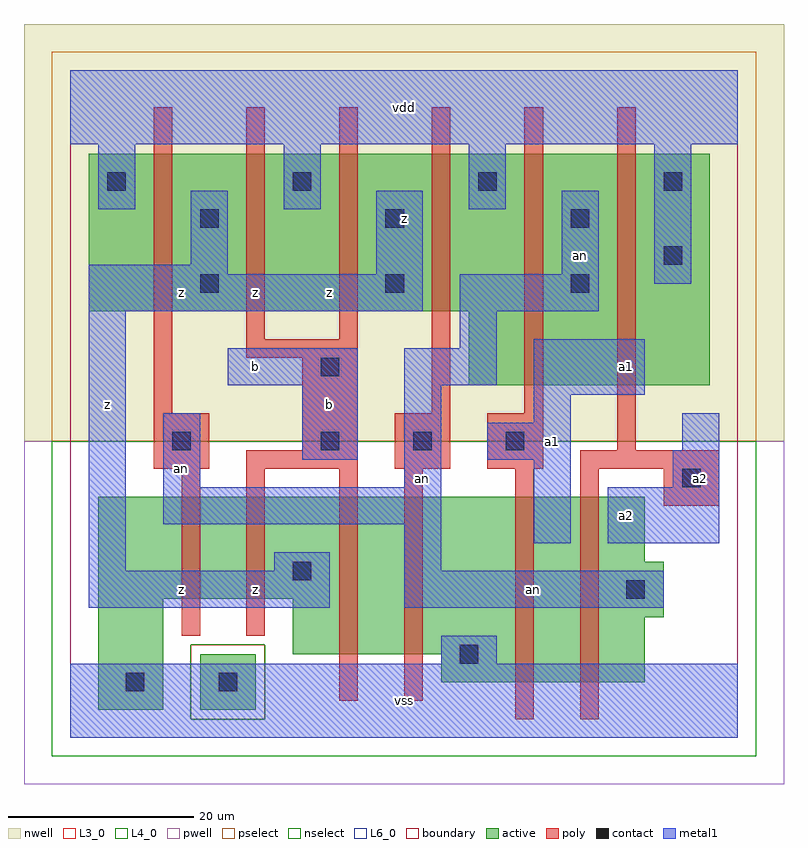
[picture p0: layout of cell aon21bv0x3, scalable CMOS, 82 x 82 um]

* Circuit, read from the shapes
.subckt aon21bv0x3 a1 a2 an b vdd vss z
M1 n1 an vss vss nfet w=11u l=2u
M2 z b n1 vss nfet w=11u l=2u
M3 n2 b z vss nfet w=17u l=2u
M4 vss an n2 vss nfet w=17u l=2u
M5 n3 a1 vss vss nfet w=20u l=2u
M6 an a2 n3 vss nfet w=20u l=2u
M7 z an vdd n4 pfet w=17u l=2u m=2
M8 vdd b z n4 pfet w=17u l=2u m=2
M9 an a1 vdd n4 pfet w=25u l=2u
M10 vdd a2 an n4 pfet w=25u l=2u
.ends

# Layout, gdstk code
import gdstk
lib = gdstk.Library(unit=1e-6, precision=1e-09)
def R(c, l, rs):  # rectangles x0, y0, x1, y1
    for r in rs: c.add(gdstk.rectangle(r[:2], r[2:], *l))
def A(c, l, x, y, w, h, nx, ny, dx, dy):  # array of equal rectangles
    R(c, l, [(x+i*dx, y+j*dy, x+i*dx+w, y+j*dy+h) for i in range(nx) for j in range(ny)])
L3_0 = (3, 0)
L4_0 = (4, 0)
L6_0 = (6, 0)
contact = (25, 0)
pwell = (41, 0)
nwell = (42, 0)
active = (43, 0)
pselect = (44, 0)
nselect = (45, 0)
poly = (46, 0)
metal1 = (49, 0)
boundary = (63, 0)

aon21bv0x3 = lib.new_cell('aon21bv0x3')
R(aon21bv0x3, L3_0, [(3,3,10,15), (40,6,62,9), (24,9,62,13), (24,13,64,15), (3,15,64,19), (3,19,62,26)])
R(aon21bv0x3, L4_0, [(43,38,69,46), (2,46,69,63)])
R(aon21bv0x3, L6_0, [(14,3,20,9)])
A(aon21bv0x3, contact, 27, 31, 2, 2, 3, 1, 10, 0)
A(aon21bv0x3, contact, 14, 48, 2, 2, 3, 2, 20, 7)
A(aon21bv0x3, contact, 4, 59, 2, 2, 4, 1, 20, 0)
R(aon21bv0x3, contact, [(6,5,8,7), (16,5,18,7), (42,8,44,10), (60,15,62,17), (24,17,26,19), (66,27,68,29), (11,31,13,33), (27,39,29,41), (64,51,66,53)])
R(aon21bv0x3, pwell, [(-5,-5,77,32)])
R(aon21bv0x3, nwell, [(-5,32,77,77)])
R(aon21bv0x3, active, [(3,3,10,15), (14,3,20,9), (40,6,62,9), (24,9,62,13), (24,13,64,15), (3,15,64,19), (3,19,62,26), (43,38,69,46), (2,46,69,63)])
R(aon21bv0x3, pselect, [(13,2,21,10), (-2,32,74,74)])
R(aon21bv0x3, nselect, [(-2,-2,74,2), (-2,2,13,10), (21,2,74,10), (-2,10,74,32)])
R(aon21bv0x3, poly, [(48,2,50,29), (55,2,57,29), (29,4,31,29), (36,4,38,29), (12,11,14,29), (19,11,21,29), (64,25,70,29), (9,29,15,35), (19,29,31,31), (35,29,41,35), (45,29,51,35), (55,29,70,31), (25,31,31,41), (59,31,61,68), (9,35,11,68), (39,35,41,68), (49,35,51,68), (19,41,31,43), (19,43,21,68), (29,43,31,68)])
A(aon21bv0x3, metal1, 3, 57, 4, 7, 3, 1, 20, 0)
R(aon21bv0x3, metal1, [(0,0,72,8), (40,8,46,11), (2,14,28,18), (36,14,64,18), (2,18,6,46), (22,18,28,20), (36,18,40,23), (50,21,54,30), (58,21,70,27), (10,23,40,27), (10,27,14,35), (36,27,40,38), (65,27,70,31), (25,30,31,38), (45,30,54,34), (66,31,70,35), (50,34,54,37), (50,37,62,43), (17,38,31,42), (36,38,46,42), (42,42,46,46), (2,46,38,50), (42,46,57,50), (63,49,67,64), (2,50,17,51), (33,50,38,59), (53,50,57,59), (13,51,17,59), (0,64,72,72)])
R(aon21bv0x3, boundary, [(0,0,72,72)])
aon21bv0x3.add(gdstk.Label('an', (12,29), layer=49, texttype=0))
aon21bv0x3.add(gdstk.Label('an', (38,28), layer=49, texttype=0))
aon21bv0x3.add(gdstk.Label('an', (50,16), layer=49, texttype=0))
aon21bv0x3.add(gdstk.Label('an', (55,52), layer=49, texttype=0))
aon21bv0x3.add(gdstk.Label('z', (12,16), layer=49, texttype=0))
aon21bv0x3.add(gdstk.Label('z', (4,36), layer=49, texttype=0))
aon21bv0x3.add(gdstk.Label('z', (12,48), layer=49, texttype=0))
aon21bv0x3.add(gdstk.Label('z', (20,16), layer=49, texttype=0))
aon21bv0x3.add(gdstk.Label('b', (28,36), layer=49, texttype=0))
aon21bv0x3.add(gdstk.Label('b', (20,40), layer=49, texttype=0))
aon21bv0x3.add(gdstk.Label('z', (20,48), layer=49, texttype=0))
aon21bv0x3.add(gdstk.Label('z', (28,48), layer=49, texttype=0))
aon21bv0x3.add(gdstk.Label('vss', (36,4), layer=49, texttype=0))
aon21bv0x3.add(gdstk.Label('a1', (52,32), layer=49, texttype=0))
aon21bv0x3.add(gdstk.Label('z', (36,56), layer=49, texttype=0))
aon21bv0x3.add(gdstk.Label('vdd', (36,68), layer=49, texttype=0))
aon21bv0x3.add(gdstk.Label('a2', (60,24), layer=49, texttype=0))
aon21bv0x3.add(gdstk.Label('a2', (68,28), layer=49, texttype=0))
aon21bv0x3.add(gdstk.Label('a1', (60,40), layer=49, texttype=0))

lib.write_gds('aon21bv0x3.gds')
